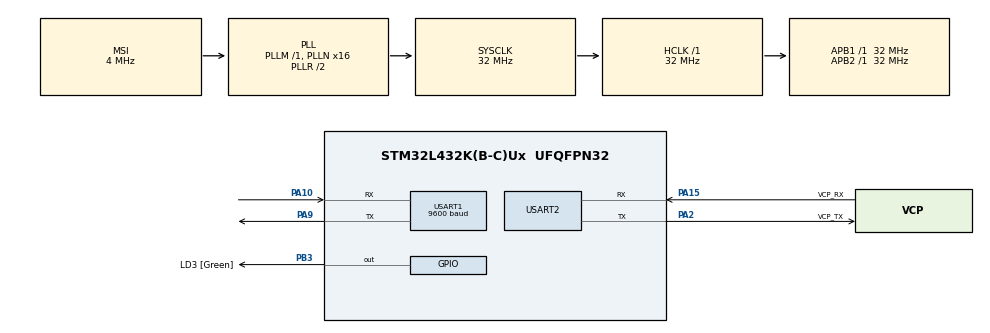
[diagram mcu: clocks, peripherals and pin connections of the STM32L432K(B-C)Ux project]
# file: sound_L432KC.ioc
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Dma.Request0=USART1_RX
Dma.Request1=USART1_TX
Dma.USART1_RX.0.Direction=DMA_PERIPH_TO_MEMORY
Dma.USART1_RX.0.Instance=DMA1_Channel5
Dma.USART1_RX.0.MemDataAlignment=DMA_MDATAALIGN_BYTE
Dma.USART1_RX.0.MemInc=DMA_MINC_ENABLE
Dma.USART1_RX.0.Mode=DMA_CIRCULAR
Dma.USART1_RX.0.PeriphDataAlignment=DMA_PDATAALIGN_BYTE
Dma.USART1_RX.0.PeriphInc=DMA_PINC_DISABLE
Dma.USART1_RX.0.Priority=DMA_PRIORITY_LOW
Dma.USART1_TX.1.Direction=DMA_MEMORY_TO_PERIPH
Dma.USART1_TX.1.Instance=DMA1_Channel4
Dma.USART1_TX.1.MemDataAlignment=DMA_MDATAALIGN_BYTE
Dma.USART1_TX.1.MemInc=DMA_MINC_ENABLE
Dma.USART1_TX.1.Mode=DMA_NORMAL
Dma.USART1_TX.1.PeriphDataAlignment=DMA_PDATAALIGN_BYTE
Dma.USART1_TX.1.PeriphInc=DMA_PINC_DISABLE
Dma.USART1_TX.1.Priority=DMA_PRIORITY_LOW
Mcu.Family=STM32L4
Mcu.Name=STM32L432K(B-C)Ux
Mcu.Package=UFQFPN32
NVIC.DMA1_Channel4_IRQn=true\:0\:0\:false\:false\:true\:false\:true\:true
NVIC.DMA1_Channel5_IRQn=true\:0\:0\:false\:false\:true\:false\:true\:true
NVIC.PriorityGroup=NVIC_PRIORITYGROUP_4
NVIC.USART1_IRQn=true\:0\:0\:false\:false\:true\:true\:true\:true
PA0.GPIO_Label=MCO [High speed clock in]
PA0.Mode=HSE-External-Clock-Source-for-LittleOrca
PA0.Signal=RCC_CK_IN
PA10.Mode=Asynchronous
PA10.Signal=USART1_RX
PA13\ (JTMS-SWDIO).GPIO_Label=SWDIO
PA13\ (JTMS-SWDIO).Mode=Serial_Wire
PA13\ (JTMS-SWDIO).Signal=SYS_JTMS-SWDIO
PA14\ (JTCK-SWCLK).GPIO_Label=SWCLK
PA14\ (JTCK-SWCLK).Mode=Serial_Wire
PA14\ (JTCK-SWCLK).Signal=SYS_JTCK-SWCLK
PA15\ (JTDI).GPIO_Label=VCP_RX
PA15\ (JTDI).Mode=Asynchronous
PA15\ (JTDI).Signal=USART2_RX
PA2.GPIO_Label=VCP_TX
PA2.Mode=Asynchronous
PA2.Signal=USART2_TX
PA9.Mode=Asynchronous
PA9.Signal=USART1_TX
PB3\ (JTDO-TRACESWO).GPIO_Label=LD3 [Green]
PB3\ (JTDO-TRACESWO).Signal=GPIO_Output
PC14-OSC32_IN\ (PC14).Mode=LSE-External-Oscillator
PC14-OSC32_IN\ (PC14).Signal=RCC_OSC32_IN
PC15-OSC32_OUT\ (PC15).Mode=LSE-External-Oscillator
PC15-OSC32_OUT\ (PC15).Signal=RCC_OSC32_OUT
ProjectManager.HeapSize=0x200
ProjectManager.StackSize=0x400
ProjectManager.TargetToolchain=STM32CubeIDE
RCC.AHBFreq_Value=32000000
RCC.APB1Freq_Value=32000000
RCC.APB1TimFreq_Value=32000000
RCC.APB2Freq_Value=32000000
RCC.APB2TimFreq_Value=32000000
RCC.CortexFreq_Value=32000000
RCC.HCLKFreq_Value=32000000
RCC.HSE_VALUE=8000000
RCC.HSI16_VALUE=16000000
RCC.HSI48_VALUE=48000000
RCC.HSI_VALUE=16000000
RCC.MSI_VALUE=4000000
RCC.PLLMUL=RCC_PLLMUL_4
RCC.PLLN=16
RCC.SYSCLKFreq_VALUE=32000000
RCC.SYSCLKSource=RCC_SYSCLKSOURCE_PLLCLK
RCC.VCOOutputFreq_Value=64000000
USART1.BaudRate=9600
USART1.Parity=PARITY_NONE
USART1.VirtualMode-Asynchronous=VM_ASYNC
USART2.VirtualMode-Asynchronous=VM_ASYNC
VP_RTC_VS_RTC_Activate.Mode=RTC_Enabled
board=NUCLEO-L432KC

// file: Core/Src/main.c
/* USER CODE BEGIN Header */
/**
 ******************************************************************************
 * @file           : main.c
 * @brief          : Main program body
 ******************************************************************************
 * @attention
 *
 * Copyright (c) 2024 STMicroelectronics.
 * All rights reserved.
 *
 * This software is licensed under terms that can be found in the LICENSE file
 * in the root directory of this software component.
 * If no LICENSE file comes with this software, it is provided AS-IS.
 *
 ******************************************************************************
 */
/* USER CODE END Header */
#include "main.h"

/* USER CODE BEGIN Includes */
#include <string.h>
#include <stdarg.h>
#include <stdio.h>
#include <time.h>
#include <stdlib.h>
#include <haifa_comms.h>
/* USER CODE END Includes */

/* USER CODE BEGIN PD */
#define TRANSMISSION_ON		// Enables transmission functionality

#define RECEPTION_ON		// Enables reception functionality

#define ARTIFICAL_DEPTH 1	// Enables generation of artificial depth values (for testing purposes)

#define TIME_PERIOD (10 * SystemCoreClock/1000)	// For 10 seconds

#define MAX_ID_LEN (2)
#define MAX_PAYLOAD_LEN (15)
/* USER CODE END PD */

RTC_HandleTypeDef hrtc;

UART_HandleTypeDef huart1;
UART_HandleTypeDef huart2;
DMA_HandleTypeDef hdma_usart1_rx;
DMA_HandleTypeDef hdma_usart1_tx;

/* USER CODE BEGIN PV */

__IO ITStatus UartReady = RESET; // Flag indicating if UART transmission is complete
HAL_StatusTypeDef TransmitState; // Status of the last UART transmission

/* Reception variables */
static uint8_t msg_list[HAIFA_MESSAGE_LIST_SIZE][HAIFA_MESSAGE_SIZE];
uint8_t buffer[HAIFA_DMA_BUFFER_SIZE];
size_t dma_head = 0, dma_tail = 0;
size_t cur_msg_sz = 0;
size_t cur_msg = 0;
uint8_t last_read_msg = HAIFA_MESSAGE_LIST_SIZE - 1;
uint8_t found = 0;

/* Parsing variables */
uint8_t id[MAX_ID_LEN + 1];
uint8_t payload[MAX_PAYLOAD_LEN + 1];
double depth2reach; // Depth parsed from the received data

uint32_t time_count = 0;

/* Buffer used for transmission */
uint8_t aTxBuffer[TXBUFFERSIZE];

/* Depth transmission variables */
float depth = -1; // Current depth value
float depthTarget = -1; // Target depth value

/* USER CODE END PV */

void SystemClock_Config(void);
static void MX_GPIO_Init(void);
static void MX_DMA_Init(void);
static void MX_USART2_UART_Init(void);
static void MX_USART1_UART_Init(void);
static void MX_RTC_Init(void);
/* USER CODE BEGIN PFP */
void Generate_Depth_Variations(float* currDepth, float* depthTarge, float maxDepth);
/* USER CODE END PFP */

int main(void)
{

	/* MCU Configuration--------------------------------------------------------*/

	/* Reset of all peripherals, Initializes the Flash interface and the Systick. */
	HAL_Init();

	/* Configure the system clock */
	SystemClock_Config();

	/* Initialize all configured peripherals */
	MX_GPIO_Init();
	MX_DMA_Init();
	MX_USART2_UART_Init();
	MX_USART1_UART_Init();
	MX_RTC_Init();

	/* Infinite loop */
	while(1)
	{

		/* USER CODE BEGIN 3 */

#ifdef RECEPTION_ON

		// always be receiving from modem
		HAL_UART_Receive_DMA(&HAIFA_UART, buffer, sizeof(buffer));

		// read and bin messages split into
		do
		{
			__disable_irq();
			dma_tail = HAIFA_DMA_BUFFER_SIZE - HAIFA_UART.hdmarx->Instance->CNDTR;
			__enable_irq();

			if(dma_tail!=dma_head)
			{
				if(dma_head < dma_tail)
				{
					for(register size_t i=dma_head; i<dma_tail; i++)
					{
						msg_list[cur_msg][cur_msg_sz++]= buffer[i];
						found = (found == 0 && msg_list[cur_msg][cur_msg_sz-1] == '\r') ? 1
								: (found == 1 && msg_list[cur_msg][cur_msg_sz-1] == '\n') ? 2
										: 0;

						if(found==2)
						{
							msg_list[cur_msg][cur_msg_sz-2] = 0;
							msg_list[cur_msg][cur_msg_sz-1] = 0;
							cur_msg = cur_msg == HAIFA_MESSAGE_LIST_SIZE-1 ? 0 : cur_msg + 1;
							memset(msg_list[cur_msg],0, HAIFA_MESSAGE_SIZE);
							cur_msg_sz=0;
						}
					}
				}
				else
				{
					for(register size_t i=dma_head; i<HAIFA_DMA_BUFFER_SIZE; i++)
					{
						msg_list[cur_msg][cur_msg_sz++]= buffer[i];
						found = (found == 0 && msg_list[cur_msg][cur_msg_sz-1] == '\r') ? 1
								: (found == 1 && msg_list[cur_msg][cur_msg_sz-1] == '\n') ? 2
										: 0;

						if(found==2)
						{
							msg_list[cur_msg][cur_msg_sz-2] = 0;
							msg_list[cur_msg][cur_msg_sz-1] = 0;
							cur_msg = cur_msg == HAIFA_MESSAGE_LIST_SIZE-1 ? 0 : cur_msg + 1;
							memset(msg_list[cur_msg], 0, HAIFA_MESSAGE_SIZE);
							cur_msg_sz=0;
						}
					}
					for(register size_t i=0; i<dma_tail; i++)
					{
						msg_list[cur_msg][cur_msg_sz++]= buffer[i];
						found = (found == 0 && msg_list[cur_msg][cur_msg_sz-1] == '\r') ? 1
								: (found == 1 && msg_list[cur_msg][cur_msg_sz-1] == '\n') ? 2
										: 0;

						if(found==2)
						{
							msg_list[cur_msg][cur_msg_sz-2] = 0;
							msg_list[cur_msg][cur_msg_sz-1] = 0;

							cur_msg = cur_msg == HAIFA_MESSAGE_LIST_SIZE-1 ? 0 : cur_msg + 1;
							memset(msg_list[cur_msg],0,HAIFA_MESSAGE_SIZE);
							cur_msg_sz=0;
						}
					}
				}
				dma_head=dma_tail;
			}
		} while(dma_head!=(HAIFA_DMA_BUFFER_SIZE- HAIFA_UART.hdmarx->Instance->CNDTR));

		// try parsing all stored messages
		while ((last_read_msg + 1u) % HAIFA_MESSAGE_LIST_SIZE != cur_msg)
		{
			last_read_msg = (last_read_msg + 1) % HAIFA_MESSAGE_LIST_SIZE;

			// Parse incoming message
			if(msg_list[last_read_msg][0] == '$')
			{
				// Extract ID
				int i_id = 1;
				while(msg_list[last_read_msg][i_id] != ';' && i_id - 1 < MAX_ID_LEN)
				{

					id[i_id-1] = msg_list[last_read_msg][i_id];
					i_id++;
				}
				id[i_id-1] = '\0';

				// Pass the semicolon
				i_id++;

				// Extract payload
				int i_pl = 0;
				while(msg_list[last_read_msg][i_id + i_pl] != '\r' && i_pl < MAX_PAYLOAD_LEN)
				{
					payload[i_pl] = msg_list[last_read_msg][i_id + i_pl];
					i_pl++;
				}
				payload[i_pl] = '\0';

				// Check the ID
				if(strcmp((char*)id, "DS") == 0)
				{
					//Convert payload into float
					depth2reach = strtod((char*)payload, NULL);
					printf("Target Depth = %f\r\n", depth2reach);
				}
			}
		}

#endif

#ifdef TRANSMISSION_ON
		/* Enable transmission functionality */

		// Check if ARTIFICAL_DEPTH macro is defined (true for 1)
		if(ARTIFICAL_DEPTH)
		{
			// Generate variations for depth and target depth
			Generate_Depth_Variations(&depth, &depthTarget, 200.0);
		}

		time_count++;
		if(time_count > TIME_PERIOD)
		{
			time_count = 0;
			// Prepare the transmission buffer
			snprintf((char*)aTxBuffer, sizeof(aTxBuffer),"$DC;%06.2f\r\n",depth);

			// Format the transmission message:
			// "$" (message start marker)
			// "Depth=" (literal string)
			// "%06.2f" (format specifier: 6 digits total, 2 decimal place for depth value)
			// "\r\n" (message terminator)

			// Print the formatted message for debugging (optional)
			printf("TX : %s\r\n", aTxBuffer);

			/* Start the transmission process */
			// Check if the UART peripheral is ready for transmission
			if(huart1.gState == HAL_UART_STATE_READY)
			{
				// Initiate DMA transmission of data in aTxBuffer via USART1
				TransmitState = HAL_UART_Transmit_DMA(&huart1, aTxBuffer, TXBUFFERSIZE);

				// Handle transmission errors
				if(TransmitState != HAL_OK)
				{
					printf("Error in transmission\r\n");
					switch(TransmitState)
					{
					case HAL_ERROR :
						printf("HAL_ERROR\r\n");
						break;
					case HAL_BUSY :
						printf("HAL_BUSY\r\n");
						break;
					case HAL_TIMEOUT :
						printf("HAL_TIMEOUT\r\n");
						break;
					default :
						break;
					}
					Error_Handler();
				}

				/* Wait for the end of the transfer */
				while (UartReady != SET)
				{
				}

				/* Reset transmission flag */
				UartReady = RESET;
			}
		}

#endif /* TRANSMISSION_ON */

	}

	/* USER CODE END 3 */
}

void SystemClock_Config(void)
{
	RCC_OscInitTypeDef RCC_OscInitStruct = {0};
	RCC_ClkInitTypeDef RCC_ClkInitStruct = {0};

	/** Configure the main internal regulator output voltage
	 */
	if (HAL_PWREx_ControlVoltageScaling(PWR_REGULATOR_VOLTAGE_SCALE1) != HAL_OK)
	{
		Error_Handler();
	}

	/** Configure LSE Drive Capability
	 */
	HAL_PWR_EnableBkUpAccess();
	__HAL_RCC_LSEDRIVE_CONFIG(RCC_LSEDRIVE_LOW);

	/** Initializes the RCC Oscillators according to the specified parameters
	 * in the RCC_OscInitTypeDef structure.
	 */
	RCC_OscInitStruct.OscillatorType = RCC_OSCILLATORTYPE_LSI|RCC_OSCILLATORTYPE_LSE
			|RCC_OSCILLATORTYPE_MSI;
	RCC_OscInitStruct.LSEState = RCC_LSE_ON;
	RCC_OscInitStruct.LSIState = RCC_LSI_ON;
	RCC_OscInitStruct.MSIState = RCC_MSI_ON;
	RCC_OscInitStruct.MSICalibrationValue = 0;
	RCC_OscInitStruct.MSIClockRange = RCC_MSIRANGE_6;
	RCC_OscInitStruct.PLL.PLLState = RCC_PLL_ON;
	RCC_OscInitStruct.PLL.PLLSource = RCC_PLLSOURCE_MSI;
	RCC_OscInitStruct.PLL.PLLM = 1;
	RCC_OscInitStruct.PLL.PLLN = 16;
	RCC_OscInitStruct.PLL.PLLP = RCC_PLLP_DIV7;
	RCC_OscInitStruct.PLL.PLLQ = RCC_PLLQ_DIV2;
	RCC_OscInitStruct.PLL.PLLR = RCC_PLLR_DIV2;
	if (HAL_RCC_OscConfig(&RCC_OscInitStruct) != HAL_OK)
	{
		Error_Handler();
	}

	/** Initializes the CPU, AHB and APB buses clocks
	 */
	RCC_ClkInitStruct.ClockType = RCC_CLOCKTYPE_HCLK|RCC_CLOCKTYPE_SYSCLK
			|RCC_CLOCKTYPE_PCLK1|RCC_CLOCKTYPE_PCLK2;
	RCC_ClkInitStruct.SYSCLKSource = RCC_SYSCLKSOURCE_PLLCLK;
	RCC_ClkInitStruct.AHBCLKDivider = RCC_SYSCLK_DIV1;
	RCC_ClkInitStruct.APB1CLKDivider = RCC_HCLK_DIV1;
	RCC_ClkInitStruct.APB2CLKDivider = RCC_HCLK_DIV1;

	if (HAL_RCC_ClockConfig(&RCC_ClkInitStruct, FLASH_LATENCY_1) != HAL_OK)
	{
		Error_Handler();
	}

	/** Enable MSI Auto calibration
	 */
	HAL_RCCEx_EnableMSIPLLMode();
}

static void MX_RTC_Init(void)
{

	/** Initialize RTC Only
	 */
	hrtc.Instance = RTC;
	hrtc.Init.HourFormat = RTC_HOURFORMAT_24;
	hrtc.Init.AsynchPrediv = 127;
	hrtc.Init.SynchPrediv = 255;
	hrtc.Init.OutPut = RTC_OUTPUT_DISABLE;
	hrtc.Init.OutPutRemap = RTC_OUTPUT_REMAP_NONE;
	hrtc.Init.OutPutPolarity = RTC_OUTPUT_POLARITY_HIGH;
	hrtc.Init.OutPutType = RTC_OUTPUT_TYPE_OPENDRAIN;
	if (HAL_RTC_Init(&hrtc) != HAL_OK)
	{
		Error_Handler();
	}

}

static void MX_USART1_UART_Init(void)
{

	huart1.Instance = USART1;
	huart1.Init.BaudRate = 9600;
	huart1.Init.WordLength = UART_WORDLENGTH_8B;
	huart1.Init.StopBits = UART_STOPBITS_1;
	huart1.Init.Parity = UART_PARITY_NONE;
	huart1.Init.Mode = UART_MODE_TX_RX;
	huart1.Init.HwFlowCtl = UART_HWCONTROL_NONE;
	huart1.Init.OverSampling = UART_OVERSAMPLING_16;
	huart1.Init.OneBitSampling = UART_ONE_BIT_SAMPLE_DISABLE;
	huart1.AdvancedInit.AdvFeatureInit = UART_ADVFEATURE_NO_INIT;
	if (HAL_UART_Init(&huart1) != HAL_OK)
	{
		Error_Handler();
	}

}

static void MX_USART2_UART_Init(void)
{

	huart2.Instance = USART2;
	huart2.Init.BaudRate = 115200;
	huart2.Init.WordLength = UART_WORDLENGTH_8B;
	huart2.Init.StopBits = UART_STOPBITS_1;
	huart2.Init.Parity = UART_PARITY_NONE;
	huart2.Init.Mode = UART_MODE_TX_RX;
	huart2.Init.HwFlowCtl = UART_HWCONTROL_NONE;
	huart2.Init.OverSampling = UART_OVERSAMPLING_16;
	huart2.Init.OneBitSampling = UART_ONE_BIT_SAMPLE_DISABLE;
	huart2.AdvancedInit.AdvFeatureInit = UART_ADVFEATURE_NO_INIT;
	if (HAL_UART_Init(&huart2) != HAL_OK)
	{
		Error_Handler();
	}

}

static void MX_DMA_Init(void)
{

	/* DMA controller clock enable */
	__HAL_RCC_DMA1_CLK_ENABLE();

	/* DMA interrupt init */
	/* DMA1_Channel4_IRQn interrupt configuration */
	HAL_NVIC_SetPriority(DMA1_Channel4_IRQn, 0, 0);
	HAL_NVIC_EnableIRQ(DMA1_Channel4_IRQn);
	/* DMA1_Channel5_IRQn interrupt configuration */
	HAL_NVIC_SetPriority(DMA1_Channel5_IRQn, 0, 0);
	HAL_NVIC_EnableIRQ(DMA1_Channel5_IRQn);

}

static void MX_GPIO_Init(void)
{
	GPIO_InitTypeDef GPIO_InitStruct = {0};

	/* GPIO Ports Clock Enable */
	__HAL_RCC_GPIOC_CLK_ENABLE();
	__HAL_RCC_GPIOA_CLK_ENABLE();
	__HAL_RCC_GPIOB_CLK_ENABLE();

	/*Configure GPIO pin Output Level */
	HAL_GPIO_WritePin(LD3_GPIO_Port, LD3_Pin, GPIO_PIN_RESET);

	/*Configure GPIO pin : LD3_Pin */
	GPIO_InitStruct.Pin = LD3_Pin;
	GPIO_InitStruct.Mode = GPIO_MODE_OUTPUT_PP;
	GPIO_InitStruct.Pull = GPIO_NOPULL;
	GPIO_InitStruct.Speed = GPIO_SPEED_FREQ_LOW;
	HAL_GPIO_Init(LD3_GPIO_Port, &GPIO_InitStruct);

}

/* USER CODE BEGIN 4 */

/**
 * @brief  Generates variations in the current depth value.
 * @param  currDepth: Pointer to a float variable storing the current depth.
 * @param  depthTarget: Pointer to a float variable storing the target depth.
 * @param  maxDepth: The maximum allowed depth value.
 * @note   This function initializes the current depth if not set, generates a new target depth
 *         if necessary, and adjusts the current depth randomly towards the target depth
 *         within a specific range.
 * @retval None
 */
void Generate_Depth_Variations(float* currDepth, float* depthTarget, float maxDepth)
{
	// Check if currDepth is not initialized
	if (*currDepth == -1)
	{
		// Seed the random number generator
		srand(RTC->SSR);
		// Generate a random initial depth between 0 and maxDepth
		*currDepth = ((float)rand() / (float)RAND_MAX) * maxDepth + 0.0;
	}

	// Check if the target depth has been reached
	// or if depthTarget is not initialized
	if (abs(*currDepth - *depthTarget) <= 0.6 || *depthTarget == -1.0)
	{
		// Seed the random number generator
		srand(RTC->SSR);
		// Generate a new random target depth between 0.6 and maxDepth-0.6
		*depthTarget = ((float)rand() / (float)RAND_MAX) * (maxDepth-0.6) + 0.6;
	}

	// Generate a random adjustment between 0.1 and 0.5 with two decimal places
	srand(RTC->SSR);
	float randomAdjustment = (rand()%50 + 1)/100.0;

	// Adjust currDepth based on comparison with depthTarget
	if (*currDepth > *depthTarget)
	{
		*currDepth -= randomAdjustment;
		// Ensure currDepth doesn't go below 0
		if(*currDepth < 0) *currDepth = 0;
	}
	else if (*currDepth < *depthTarget)
	{
		*currDepth += randomAdjustment;
	}
}

/**
 * @brief  Tx Transfer completed callback
 * @param  UartHandle: UART handle.
 * @note   This example shows a simple way to report end of DMA Tx transfer, and
 *         you can add your own implementation.
 * @retval None
 */
void HAL_UART_TxCpltCallback(UART_HandleTypeDef *UartHandle)
{
	/* Set transmission flag: transfer complete */
	UartReady = SET;
}

/**
 * @brief  Rx Transfer completed callback
 * @param  UartHandle: UART handle
 * @note   This example shows a simple way to report end of DMA Rx transfer, and
 *         you can add your own implementation.
 * @retval None
 */
void HAL_UART_RxCpltCallback(UART_HandleTypeDef *UartHandle)
{
	/* Set transmission flag: transfer complete */
	UartReady = SET;
}

/**
 * @brief  UART error callbacks
 * @param  UartHandle: UART handle
 * @note   This example shows a simple way to report transfer error, and you can
 *         add your own implementation.
 * @retval None
 */
void HAL_UART_ErrorCallback(UART_HandleTypeDef *UartHandle)
{
	printf("ERROR : Callback\r\n");
	// Get the specific error code using HAL_UART_GetError()
	uint32_t error_code = HAL_UART_GetError(UartHandle);

	// Print informative message based on the error code
	switch (error_code) {
	case HAL_UART_ERROR_FE:
		printf("Error: Frame Error\r\n");
		break;
	case HAL_UART_ERROR_NE:
		printf("Error: Noise Error\r\n");

		break;
	case HAL_UART_ERROR_PE:
		printf("Error: Parity Error\r\n");
		break;
		//	case HAL_UART_ERROR_BE:
		//		USART1_printf("Error: Break Error\r\n");
		//		break;
	case HAL_UART_ERROR_ORE:
		printf("Error: Overrun Error\r\n");
		HAL_UART_AbortReceive(&huart1);
		HAL_UART_AbortTransmit(&huart1);

		break;
	case HAL_UART_ERROR_DMA:
		printf("Error: DMA Transfer Error\r\n");
		break;
		//	case HAL_UART_ERROR_TIMEOUT:
		//		USART1_printf("Error: Timeout Error\r\n");
		//		break;
	default:
		printf("Error: Unknown Error (%lu)\r\n", error_code);
		// Additionally, check for specific error bits in the register (if applicable)
		if (READ_BIT(UartHandle->Instance->ISR, USART_ISR_RXNE) == RESET) {
			printf("Possible cause: Receive Noise Error\r\n");
		}
		if (READ_BIT(UartHandle->Instance->ISR, USART_ISR_TC) == RESET) {
			printf("Possible cause: Transmission Timeout\r\n");
		}
	}
	//Error_Handler();
}

/**
 * @brief Transmits a single character through UART2.
 * @param ch: The character to be transmitted.
 * @return The character that was transmitted (always the same as the input).
 * @note This function likely uses the STM32 HAL to transmit a single byte
 *        through UART2. It's a low-level function for character output.
 */
int __io_putchar(int ch)
{
	HAL_UART_Transmit(&huart2, (uint8_t *)&ch, 1, 0xFFFF);
	return ch;
}

/**
 * @brief Receives a single character through UART2.
 * @return The received character as an integer.
 * @note This function likely uses the STM32 HAL to receive a single byte
 *        through UART2. It's a low-level function for character input.
 *        Waits until a character is received before returning.
 */
int __io_getchar(void)
{
	int ch = 0;
	while(!__HAL_UART_GET_FLAG(&huart2, UART_FLAG_RXNE));
	HAL_UART_Receive(&huart2, (uint8_t *)&ch, 1, 0xFFFF);
	return ch;
}

/* USER CODE END 4 */

void Error_Handler(void)
{
	__disable_irq();
	while (1)
	{
	}
}
